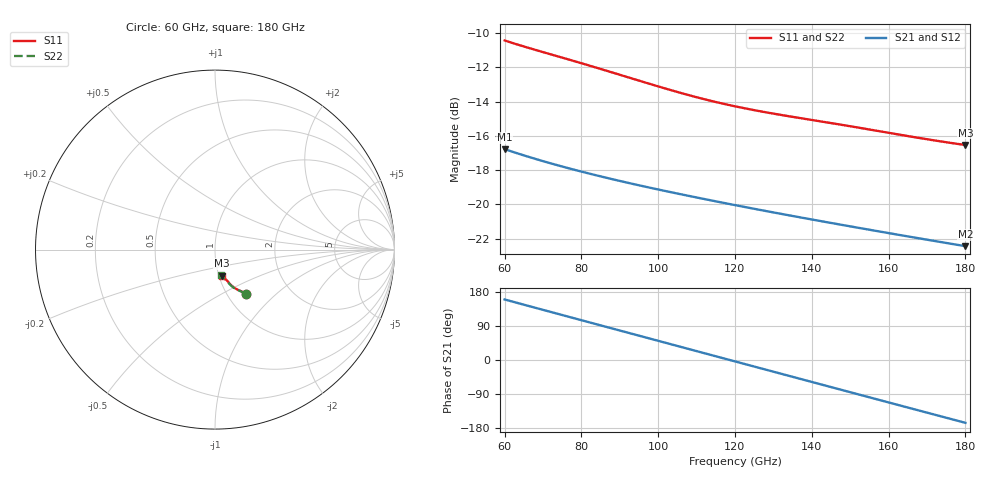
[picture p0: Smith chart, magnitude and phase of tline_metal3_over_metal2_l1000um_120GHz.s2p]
#  GHZ S DB R 50
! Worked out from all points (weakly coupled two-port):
!   101 points, 60 GHz to 180 GHz, reference 50 ohm
!   highest |S21| = -16.77 dB at 60 GHz (marker M1); lowest = -22.4 dB at 180 GHz (marker M2)
!   lowest |S11| = -16.5 dB at 180 GHz (marker M3), VSWR 1.35, Z = 51.6 - j15.2 ohm
!   |S11| at or under -10 dB: start of sweep to end of sweep
!   |S22| runs from -16.7 to -10.4 dB; largest |S21 - S12| = 2e-14
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60  -10.44 -54.6  -16.77 159.8  -16.77 159.8  -10.43 -54.8
66  -10.85 -56.2  -17.21 143.3  -17.21 143.3  -10.85 -56.4
70.8  -11.17 -57.5  -17.53 130.1  -17.53 130.1  -11.16 -57.8
75.6  -11.48 -59.0  -17.82 117.0  -17.82 117.0  -11.47 -59.3
80.4  -11.79 -60.4  -18.11 104.0  -18.11 104.0  -11.79 -60.8
85.2  -12.11 -61.8  -18.37 90.9  -18.37 90.9  -12.11 -62.2
90  -12.44 -63.1  -18.63 77.8  -18.63 77.8  -12.44 -63.5
94.8  -12.77 -64.2  -18.87 64.8  -18.87 64.8  -12.78 -64.7
100.8  -13.17 -65.4  -19.17 48.5  -19.17 48.5  -13.19 -66.0
105.6  -13.48 -66.2  -19.39 35.4  -19.39 35.4  -13.51 -66.8
110.4  -13.77 -66.9  -19.61 22.4  -19.61 22.4  -13.81 -67.5
115.2  -14.04 -67.4  -19.83 9.3  -19.83 9.3  -14.08 -68.0
120  -14.28 -67.9  -20.04 -3.7  -20.04 -3.7  -14.33 -68.5
129.6  -14.69 -68.9  -20.45 -29.7  -20.45 -29.7  -14.76 -69.6
135.6  -14.91 -69.7  -20.70 -46.0  -20.70 -46.0  -15.00 -70.3
140.4  -15.09 -70.4  -20.89 -59.0  -20.89 -59.0  -15.18 -71.0
145.2  -15.26 -71.1  -21.09 -72.0  -21.09 -72.0  -15.36 -71.7
150  -15.44 -71.9  -21.28 -84.9  -21.28 -84.9  -15.55 -72.5
154.8  -15.62 -72.6  -21.47 -97.9  -21.47 -97.9  -15.74 -73.2
160.8  -15.85 -73.5  -21.70 -114.1  -21.70 -114.1  -15.98 -74.1
170.4  -16.21 -74.7  -22.07 -140.0  -22.07 -140.0  -16.36 -75.2
180  -16.53 -75.6  -22.43 -165.8  -22.43 -165.8  -16.72 -76.1
